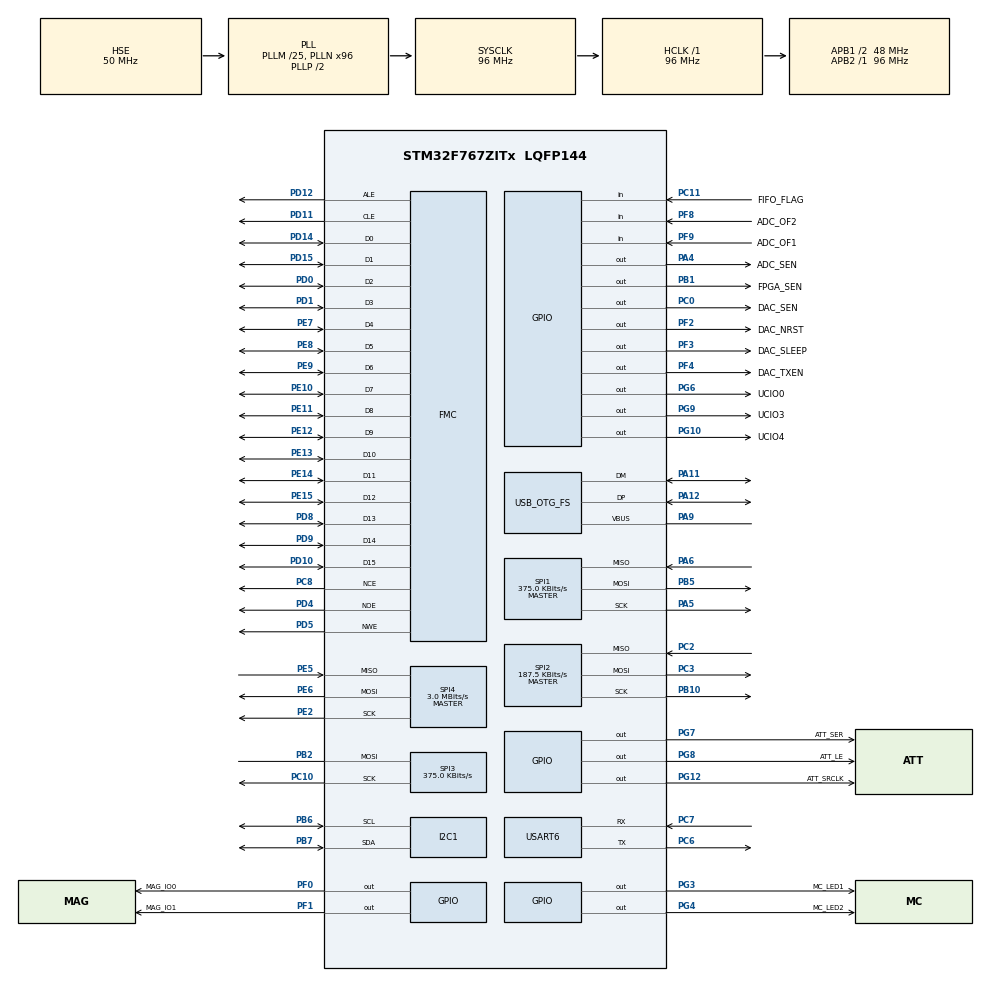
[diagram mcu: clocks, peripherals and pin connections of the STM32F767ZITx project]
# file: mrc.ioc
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ARM.CMSIS.5.4.0.CMSISJjCORE=true
ARM.CMSIS.5.4.0.CMSISJjDSP=true
Dma.MEMTOMEM.0.Direction=DMA_MEMORY_TO_MEMORY
Dma.MEMTOMEM.0.FIFOMode=DMA_FIFOMODE_ENABLE
Dma.MEMTOMEM.0.FIFOThreshold=DMA_FIFO_THRESHOLD_FULL
Dma.MEMTOMEM.0.Instance=DMA2_Stream0
Dma.MEMTOMEM.0.MemBurst=DMA_MBURST_SINGLE
Dma.MEMTOMEM.0.MemDataAlignment=DMA_MDATAALIGN_HALFWORD
Dma.MEMTOMEM.0.MemInc=DMA_MINC_ENABLE
Dma.MEMTOMEM.0.Mode=DMA_NORMAL
Dma.MEMTOMEM.0.PeriphBurst=DMA_PBURST_SINGLE
Dma.MEMTOMEM.0.PeriphDataAlignment=DMA_PDATAALIGN_HALFWORD
Dma.MEMTOMEM.0.PeriphInc=DMA_PINC_DISABLE
Dma.MEMTOMEM.0.Priority=DMA_PRIORITY_LOW
Dma.Request0=MEMTOMEM
FMC.AttributeSpaceHiZSetupTime1=5
FMC.AttributeSpaceHoldSetupTime1=6
FMC.AttributeSpaceSetupTime1=5
FMC.AttributeSpaceWaitSetupTime1=5
FMC.CommonSpaceHiZSetupTime1=5
FMC.CommonSpaceHoldSetupTime1=6
FMC.CommonSpaceSetupTime1=5
FMC.CommonSpaceWaitSetupTime1=5
I2C1.Timing=0x20303E5D
Mcu.Family=STM32F7
Mcu.Name=STM32F767ZITx
Mcu.Package=LQFP144
NVIC.DMA2_Stream0_IRQn=true\:0\:0\:false\:false\:true\:true\:true\:true
NVIC.OTG_FS_IRQn=true\:0\:0\:false\:false\:true\:false\:true\:true
NVIC.PriorityGroup=NVIC_PRIORITYGROUP_4
PA11.Mode=Device_Only
PA11.Signal=USB_OTG_FS_DM
PA12.Mode=Device_Only
PA12.Signal=USB_OTG_FS_DP
PA4.GPIO_Label=ADC_SEN
PA4.Signal=GPIO_Output
PA5.Mode=Full_Duplex_Master
PA5.Signal=SPI1_SCK
PA6.Mode=Full_Duplex_Master
PA6.Signal=SPI1_MISO
PA9.Mode=Activate_VBUS
PA9.Signal=USB_OTG_FS_VBUS
PB1.GPIO_Label=FPGA_SEN
PB1.Signal=GPIO_Output
PB10.Mode=Full_Duplex_Master
PB10.Signal=SPI2_SCK
PB2.Mode=Simplex_Bidirectional_Master
PB2.Signal=SPI3_MOSI
PB5.Mode=Full_Duplex_Master
PB5.Signal=SPI1_MOSI
PB6.Mode=I2C
PB6.Signal=I2C1_SCL
PB7.Mode=I2C
PB7.Signal=I2C1_SDA
PC0.GPIO_Label=DAC_SEN
PC0.Signal=GPIO_Output
PC10.Mode=Simplex_Bidirectional_Master
PC10.Signal=SPI3_SCK
PC11.GPIO_Label=FIFO_FLAG
PC11.Signal=GPIO_Input
PC2.Mode=Full_Duplex_Master
PC2.Signal=SPI2_MISO
PC3.Mode=Full_Duplex_Master
PC3.Signal=SPI2_MOSI
PC6.Mode=Asynchronous
PC6.Signal=USART6_TX
PC7.Mode=Asynchronous
PC7.Signal=USART6_RX
PC8.Mode=NandChipSelect3_1
PC8.Signal=FMC_NCE
PD0.Signal=FMC_D2_DA2
PD1.Signal=FMC_D3_DA3
PD10.Signal=FMC_D15_DA15
PD11.Signal=FMC_A16_CLE
PD12.Signal=FMC_A17_ALE
PD14.Signal=FMC_D0_DA0
PD15.Signal=FMC_D1_DA1
PD4.Signal=FMC_NOE
PD5.Signal=FMC_NWE
PD8.Signal=FMC_D13_DA13
PD9.Signal=FMC_D14_DA14
PE10.Signal=FMC_D7_DA7
PE11.Signal=FMC_D8_DA8
PE12.Signal=FMC_D9_DA9
PE13.Signal=FMC_D10_DA10
PE14.Signal=FMC_D11_DA11
PE15.Signal=FMC_D12_DA12
PE2.Mode=Full_Duplex_Master
PE2.Signal=SPI4_SCK
PE5.Mode=Full_Duplex_Master
PE5.Signal=SPI4_MISO
PE6.Mode=Full_Duplex_Master
PE6.Signal=SPI4_MOSI
PE7.Signal=FMC_D4_DA4
PE8.Signal=FMC_D5_DA5
PE9.Signal=FMC_D6_DA6
PF0.GPIO_Label=MAG_IO0
PF0.Signal=GPIO_Output
PF1.GPIO_Label=MAG_IO1
PF1.Signal=GPIO_Output
PF2.GPIO_Label=DAC_NRST
PF2.Signal=GPIO_Output
PF3.GPIO_Label=DAC_SLEEP
PF3.Signal=GPIO_Output
PF4.GPIO_Label=DAC_TXEN
PF4.Signal=GPIO_Output
PF8.GPIO_Label=ADC_OF2
PF8.Signal=GPIO_Input
PF9.GPIO_Label=ADC_OF1
PF9.Signal=GPIO_Input
PG10.GPIO_Label=UCIO4
PG10.Signal=GPIO_Output
PG11.Signal=ETH_TX_EN
PG12.GPIO_Label=ATT_SRCLK
PG12.Signal=GPIO_Output
PG13.Signal=ETH_TXD0
PG3.GPIO_Label=MC_LED1
PG3.Signal=GPIO_Output
PG4.GPIO_Label=MC_LED2
PG4.Signal=GPIO_Output
PG6.GPIO_Label=UCIO0
PG6.Signal=GPIO_Output
PG7.GPIO_Label=ATT_SER
PG7.Signal=GPIO_Output
PG8.GPIO_Label=ATT_LE
PG8.Signal=GPIO_Output
PG9.GPIO_Label=UCIO3
PG9.Signal=GPIO_Output
PH0/OSC_IN.Mode=HSE-External-Clock-Source
PH0/OSC_IN.Signal=RCC_OSC_IN
PH1/OSC_OUT.Mode=HSE-External-Clock-Source
PH1/OSC_OUT.Signal=RCC_OSC_OUT
ProjectManager.HeapSize=0x400
ProjectManager.StackSize=0x800
ProjectManager.TargetToolchain=STM32CubeIDE
RCC.AHBFreq_Value=96000000
RCC.APB1CLKDivider=RCC_HCLK_DIV2
RCC.APB1Freq_Value=48000000
RCC.APB1TimFreq_Value=96000000
RCC.APB2Freq_Value=96000000
RCC.APB2TimFreq_Value=96000000
RCC.CortexFreq_Value=96000000
RCC.HCLKFreq_Value=96000000
RCC.HSE_VALUE=50000000
RCC.HSI_VALUE=16000000
RCC.LSE_VALUE=32768
RCC.PLLM=25
RCC.PLLN=96
RCC.PLLQ=4
RCC.SYSCLKFreq_VALUE=96000000
RCC.SYSCLKSource=RCC_SYSCLKSOURCE_PLLCLK
RCC.USBFreq_Value=48000000
RCC.VCOOutputFreq_Value=192000000
SH.FMC_A16_CLE.0=FMC_CLE,16b-dmux1
SH.FMC_A17_ALE.0=FMC_ALE,16b-dmux1
SH.FMC_D0_DA0.0=FMC_D0,16b-dmux1
SH.FMC_D10_DA10.0=FMC_D10,16b-dmux1
SH.FMC_D11_DA11.0=FMC_D11,16b-dmux1
SH.FMC_D12_DA12.0=FMC_D12,16b-dmux1
SH.FMC_D13_DA13.0=FMC_D13,16b-dmux1
SH.FMC_D14_DA14.0=FMC_D14,16b-dmux1
SH.FMC_D15_DA15.0=FMC_D15,16b-dmux1
SH.FMC_D1_DA1.0=FMC_D1,16b-dmux1
SH.FMC_D2_DA2.0=FMC_D2,16b-dmux1
SH.FMC_D3_DA3.0=FMC_D3,16b-dmux1
SH.FMC_D4_DA4.0=FMC_D4,16b-dmux1
SH.FMC_D5_DA5.0=FMC_D5,16b-dmux1
SH.FMC_D6_DA6.0=FMC_D6,16b-dmux1
SH.FMC_D7_DA7.0=FMC_D7,16b-dmux1
SH.FMC_D8_DA8.0=FMC_D8,16b-dmux1
SH.FMC_D9_DA9.0=FMC_D9,16b-dmux1
SH.FMC_NOE.0=FMC_NOE,16b-dmux1
SH.FMC_NWE.0=FMC_NWE,16b-dmux1
SPI1.BaudRatePrescaler=SPI_BAUDRATEPRESCALER_256
SPI1.CalculateBaudRate=375.0 KBits/s
SPI1.DataSize=SPI_DATASIZE_8BIT
SPI1.Direction=SPI_DIRECTION_2LINES
SPI1.Mode=SPI_MODE_MASTER
SPI1.VirtualType=VM_MASTER
SPI2.BaudRatePrescaler=SPI_BAUDRATEPRESCALER_256
SPI2.CalculateBaudRate=187.5 KBits/s
SPI2.DataSize=SPI_DATASIZE_8BIT
SPI2.Direction=SPI_DIRECTION_2LINES
SPI2.Mode=SPI_MODE_MASTER
SPI2.VirtualType=VM_MASTER
SPI3.BaudRatePrescaler=SPI_BAUDRATEPRESCALER_128
SPI3.CalculateBaudRate=375.0 KBits/s
SPI3.DataSize=SPI_DATASIZE_16BIT
SPI3.Direction=SPI_DIRECTION_1LINE
SPI3.Mode=SPI_MODE_MASTER
SPI3.VirtualType=VM_MASTER
SPI4.BaudRatePrescaler=SPI_BAUDRATEPRESCALER_32
SPI4.CalculateBaudRate=3.0 MBits/s
SPI4.DataSize=SPI_DATASIZE_8BIT
SPI4.Direction=SPI_DIRECTION_2LINES
SPI4.Mode=SPI_MODE_MASTER
SPI4.VirtualType=VM_MASTER
USART6.VirtualMode-Asynchronous=VM_ASYNC
USB_DEVICE.CLASS_NAME_FS=CDC
USB_DEVICE.VirtualMode-CDC_FS=Cdc
USB_DEVICE.VirtualModeFS=Cdc_FS
USB_OTG_FS.VirtualMode=Device_Only
VP_ARM.CMSIS_VS_CMSISJjCORE_5.1.2_5.4.0.Mode=CMSISJjCORE
VP_ARM.CMSIS_VS_CMSISJjDSP_1.5.2_5.4.0.Mode=CMSISJjDSP
VP_USB_DEVICE_VS_USB_DEVICE_CDC_FS.Mode=CDC_FS
board=custom

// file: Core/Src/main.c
/* USER CODE BEGIN Header */
/**
  ******************************************************************************
  * @file           : main.c
  * @brief          : Main program body
  ******************************************************************************
  * @attention
  *
  * Copyright (c) 2024 STMicroelectronics.
  * All rights reserved.
  *
  * This software is licensed under terms that can be found in the LICENSE file
  * in the root directory of this software component.
  * If no LICENSE file comes with this software, it is provided AS-IS.
  *
  ******************************************************************************
  */
/* USER CODE END Header */
#include "main.h"
#include "usb_device.h"

/* USER CODE BEGIN Includes */

#include "mrc.h"
#include "dac5687.h"
#include "ltc2145.h"
#include <stdint.h>
#include <stdarg.h>
#include <stdio.h>
#include "usbd_cdc_if.h"

#include "seq/seq_pulseecho.h" //Sequence definition for pulseecho experiment
//#include "arm_math.h"

/* USER CODE END Includes */

I2C_HandleTypeDef hi2c1;

SPI_HandleTypeDef hspi1;
SPI_HandleTypeDef hspi2;
SPI_HandleTypeDef hspi3;
SPI_HandleTypeDef hspi4;

UART_HandleTypeDef huart6;

DMA_HandleTypeDef hdma_memtomem_dma2_stream0;
NAND_HandleTypeDef hnand1;

/* USER CODE BEGIN PV */

char cdc_rx_buf[64];
uint16_t sequence_buffer[512];
uint16_t codelength;
uint8_t well;
uint8_t att;
uint16_t seq_num_samples;
uint8_t * cdc_rx_dst;

uint16_t sequence_amps[4]; //Relative amplitudes from sequence
uint16_t amp_scale = 0;

const char CMD_TRIG[64] = "trigger";
const char CMD_LOAD[64] = "load";
const char CMD_CAL_FREQ[64] = "calfreq";
const char CMD_SET_AMP[64] = "amp";
const char CMD_SET_ATT[64] = "att";
const char CMD_SET_WELL[64] = "well";
const char CMD_SET_FREQ[64] = "freq";
const char CMD_RST[64] = "reset";
volatile unsigned char usb_rx_flag;

/* USER CODE END PV */

void SystemClock_Config(void);
static void MX_GPIO_Init(void);
static void MX_DMA_Init(void);
static void MX_SPI2_Init(void);
static void MX_SPI3_Init(void);
static void MX_USART6_UART_Init(void);
static void MX_I2C1_Init(void);
static void MX_SPI4_Init(void);
static void MX_FMC_Init(void);
static void MX_SPI1_Init(void);

int main(void)
{

  /* MCU Configuration--------------------------------------------------------*/

  /* Reset of all peripherals, Initializes the Flash interface and the Systick. */
  HAL_Init();

  /* Configure the system clock */
  SystemClock_Config();

  /* Initialize all configured peripherals */
  MX_GPIO_Init();
  MX_DMA_Init();
  MX_SPI2_Init();
  MX_SPI3_Init();
  MX_USART6_UART_Init();
  MX_I2C1_Init();
  MX_SPI4_Init();
  MX_FMC_Init();
  MX_SPI1_Init();
  MX_USB_DEVICE_Init();
  /* USER CODE BEGIN 2 */
  DAC5687_Init();

  LTC2145_Init();
  cdc_rx_dst = (uint8_t *) cdc_rx_buf;

  HAL_GPIO_WritePin(DAC_TXEN_GPIO_Port, DAC_TXEN_Pin, GPIO_PIN_SET);
//  DAC5687_Pattern_Test();
  HAL_Delay(3000); //wait for FPGA to initialize
  Configure_MRC();

  float frequency = 8091000.0;
  MRC_Set_Freq(frequency);
  Load_Sequence(seq_pulseecho, seq_pulseecho_len);
  /* USER CODE END 2 */

  /* Infinite loop */
  while (1)
  {

    /* USER CODE BEGIN 3 */

	  if(usb_rx_flag){
		  usb_rx_flag = 0;
		  if(strncmp(cdc_rx_buf,CMD_TRIG, 6) == 0){
			  DEBUG_PRINT("Trigger\n\r");
			  Reset_FPGA();
			  MRC_Set_Freq(frequency);
			  Trigger_Sequence();
			  Transfer_Samples(seq_num_samples * 16);
		  }
		  else if(strncmp(cdc_rx_buf,CMD_LOAD, 4) == 0){
			  codelength = ((uint16_t) cdc_rx_buf[4] << 8) + cdc_rx_buf[5];
//			  HAL_Delay(10);
//			  DEBUG_PRINT("Loading Sequence, length %d\n\r", codelength);
			  for(int i = 0; i < codelength/64; i++){
				  cdc_rx_dst = (uint8_t *) sequence_buffer  + i*64;
				  while(usb_rx_flag == 0){} //wait for next packet
				  usb_rx_flag = 0;
			  }
			  if(codelength - (codelength/64)*64 > 0){
				  cdc_rx_dst = (uint8_t *) sequence_buffer + (codelength/64)*64;
				  while(usb_rx_flag == 0){} //wait for next packet
				  usb_rx_flag = 0;
			  }
			  cdc_rx_dst = (uint8_t *) cdc_rx_buf;
//			  DEBUG_PRINT("Done\n\r");
			  seq_num_samples = sequence_buffer[0];
			  sequence_amps[0] = sequence_buffer[5];
			  sequence_amps[1] = sequence_buffer[6];
			  sequence_amps[2] = sequence_buffer[7];
			  sequence_amps[3] = sequence_buffer[8];

			  //Scale the sequence amps
			  sequence_buffer[5] = (sequence_amps[0] * amp_scale)/100;
			  sequence_buffer[6] = (sequence_amps[1] * amp_scale)/100;
			  sequence_buffer[7] = (sequence_amps[2] * amp_scale)/100;
			  sequence_buffer[8] = (sequence_amps[3] * amp_scale)/100;

			  Reset_FPGA();
			  Load_Sequence(sequence_buffer, codelength/2);
			  DEBUG_PRINT("codelength: %d\n\r", codelength/2);
//			  Load_Sequence(seq_pulseecho, seq_pulseecho_len);
			  MRC_Set_Freq(frequency);

			  Transfer_Status("Done");
		  }
		  else if(strncmp(cdc_rx_buf,CMD_SET_AMP, 3) == 0){
			  amp_scale = atoi(cdc_rx_buf + 4);

			  sequence_buffer[5] = (sequence_amps[0] * amp_scale)/100;
			  sequence_buffer[6] = (sequence_amps[1]* amp_scale)/100;
			  sequence_buffer[7] = (sequence_amps[2] * amp_scale)/100;
			  sequence_buffer[8] = (sequence_amps[3] * amp_scale)/100;
			  Reset_FPGA();
			  Load_Sequence(sequence_buffer, codelength/2);
			  MRC_Set_Freq(frequency);
			  Transfer_Status("Done");
		  }
		  else if(strncmp(cdc_rx_buf,CMD_SET_ATT, 3) == 0){
			  att = atoi(cdc_rx_buf + 4);

			  Set_Attenuator(att);
			  Transfer_Status("Done");
		  }
		  else if(strncmp(cdc_rx_buf,CMD_SET_WELL, 4) == 0){
			  well = atoi(cdc_rx_buf + 5);

			  Set_Well(well);
			  Transfer_Status("Done");
		  }
		  else if(strncmp(cdc_rx_buf,CMD_SET_FREQ, 4) == 0){
			  frequency = (float) atoi(cdc_rx_buf + 5);
			  MRC_Set_Freq(frequency);
			  Transfer_Status("Done");
		  }
		  else if(strncmp(cdc_rx_buf,CMD_RST, 5) == 0){
			  Reset_FPGA();
		  }
		  memset (cdc_rx_buf, '\0', 64);
	  }

  }
  /* USER CODE END 3 */
}

void SystemClock_Config(void)
{
  RCC_OscInitTypeDef RCC_OscInitStruct = {0};
  RCC_ClkInitTypeDef RCC_ClkInitStruct = {0};

  /** Configure the main internal regulator output voltage
  */
  __HAL_RCC_PWR_CLK_ENABLE();
  __HAL_PWR_VOLTAGESCALING_CONFIG(PWR_REGULATOR_VOLTAGE_SCALE3);

  /** Initializes the RCC Oscillators according to the specified parameters
  * in the RCC_OscInitTypeDef structure.
  */
  RCC_OscInitStruct.OscillatorType = RCC_OSCILLATORTYPE_HSE;
  RCC_OscInitStruct.HSEState = RCC_HSE_BYPASS;
  RCC_OscInitStruct.PLL.PLLState = RCC_PLL_ON;
  RCC_OscInitStruct.PLL.PLLSource = RCC_PLLSOURCE_HSE;
  RCC_OscInitStruct.PLL.PLLM = 25;
  RCC_OscInitStruct.PLL.PLLN = 96;
  RCC_OscInitStruct.PLL.PLLP = RCC_PLLP_DIV2;
  RCC_OscInitStruct.PLL.PLLQ = 4;
  RCC_OscInitStruct.PLL.PLLR = 2;
  if (HAL_RCC_OscConfig(&RCC_OscInitStruct) != HAL_OK)
  {
    Error_Handler();
  }

  /** Activate the Over-Drive mode
  */
  if (HAL_PWREx_EnableOverDrive() != HAL_OK)
  {
    Error_Handler();
  }

  /** Initializes the CPU, AHB and APB buses clocks
  */
  RCC_ClkInitStruct.ClockType = RCC_CLOCKTYPE_HCLK|RCC_CLOCKTYPE_SYSCLK
                              |RCC_CLOCKTYPE_PCLK1|RCC_CLOCKTYPE_PCLK2;
  RCC_ClkInitStruct.SYSCLKSource = RCC_SYSCLKSOURCE_PLLCLK;
  RCC_ClkInitStruct.AHBCLKDivider = RCC_SYSCLK_DIV1;
  RCC_ClkInitStruct.APB1CLKDivider = RCC_HCLK_DIV2;
  RCC_ClkInitStruct.APB2CLKDivider = RCC_HCLK_DIV1;

  if (HAL_RCC_ClockConfig(&RCC_ClkInitStruct, FLASH_LATENCY_3) != HAL_OK)
  {
    Error_Handler();
  }
}

static void MX_I2C1_Init(void)
{

  hi2c1.Instance = I2C1;
  hi2c1.Init.Timing = 0x20303E5D;
  hi2c1.Init.OwnAddress1 = 0;
  hi2c1.Init.AddressingMode = I2C_ADDRESSINGMODE_7BIT;
  hi2c1.Init.DualAddressMode = I2C_DUALADDRESS_DISABLE;
  hi2c1.Init.OwnAddress2 = 0;
  hi2c1.Init.OwnAddress2Masks = I2C_OA2_NOMASK;
  hi2c1.Init.GeneralCallMode = I2C_GENERALCALL_DISABLE;
  hi2c1.Init.NoStretchMode = I2C_NOSTRETCH_DISABLE;
  if (HAL_I2C_Init(&hi2c1) != HAL_OK)
  {
    Error_Handler();
  }

  /** Configure Analogue filter
  */
  if (HAL_I2CEx_ConfigAnalogFilter(&hi2c1, I2C_ANALOGFILTER_ENABLE) != HAL_OK)
  {
    Error_Handler();
  }

  /** Configure Digital filter
  */
  if (HAL_I2CEx_ConfigDigitalFilter(&hi2c1, 0) != HAL_OK)
  {
    Error_Handler();
  }

}

static void MX_SPI1_Init(void)
{

  /* SPI1 parameter configuration*/
  hspi1.Instance = SPI1;
  hspi1.Init.Mode = SPI_MODE_MASTER;
  hspi1.Init.Direction = SPI_DIRECTION_2LINES;
  hspi1.Init.DataSize = SPI_DATASIZE_8BIT;
  hspi1.Init.CLKPolarity = SPI_POLARITY_LOW;
  hspi1.Init.CLKPhase = SPI_PHASE_1EDGE;
  hspi1.Init.NSS = SPI_NSS_SOFT;
  hspi1.Init.BaudRatePrescaler = SPI_BAUDRATEPRESCALER_256;
  hspi1.Init.FirstBit = SPI_FIRSTBIT_MSB;
  hspi1.Init.TIMode = SPI_TIMODE_DISABLE;
  hspi1.Init.CRCCalculation = SPI_CRCCALCULATION_DISABLE;
  hspi1.Init.CRCPolynomial = 7;
  hspi1.Init.CRCLength = SPI_CRC_LENGTH_DATASIZE;
  hspi1.Init.NSSPMode = SPI_NSS_PULSE_ENABLE;
  if (HAL_SPI_Init(&hspi1) != HAL_OK)
  {
    Error_Handler();
  }

}

static void MX_SPI2_Init(void)
{

  /* SPI2 parameter configuration*/
  hspi2.Instance = SPI2;
  hspi2.Init.Mode = SPI_MODE_MASTER;
  hspi2.Init.Direction = SPI_DIRECTION_2LINES;
  hspi2.Init.DataSize = SPI_DATASIZE_8BIT;
  hspi2.Init.CLKPolarity = SPI_POLARITY_LOW;
  hspi2.Init.CLKPhase = SPI_PHASE_1EDGE;
  hspi2.Init.NSS = SPI_NSS_SOFT;
  hspi2.Init.BaudRatePrescaler = SPI_BAUDRATEPRESCALER_256;
  hspi2.Init.FirstBit = SPI_FIRSTBIT_MSB;
  hspi2.Init.TIMode = SPI_TIMODE_DISABLE;
  hspi2.Init.CRCCalculation = SPI_CRCCALCULATION_DISABLE;
  hspi2.Init.CRCPolynomial = 7;
  hspi2.Init.CRCLength = SPI_CRC_LENGTH_DATASIZE;
  hspi2.Init.NSSPMode = SPI_NSS_PULSE_ENABLE;
  if (HAL_SPI_Init(&hspi2) != HAL_OK)
  {
    Error_Handler();
  }

}

static void MX_SPI3_Init(void)
{

  /* SPI3 parameter configuration*/
  hspi3.Instance = SPI3;
  hspi3.Init.Mode = SPI_MODE_MASTER;
  hspi3.Init.Direction = SPI_DIRECTION_1LINE;
  hspi3.Init.DataSize = SPI_DATASIZE_16BIT;
  hspi3.Init.CLKPolarity = SPI_POLARITY_LOW;
  hspi3.Init.CLKPhase = SPI_PHASE_1EDGE;
  hspi3.Init.NSS = SPI_NSS_SOFT;
  hspi3.Init.BaudRatePrescaler = SPI_BAUDRATEPRESCALER_128;
  hspi3.Init.FirstBit = SPI_FIRSTBIT_MSB;
  hspi3.Init.TIMode = SPI_TIMODE_DISABLE;
  hspi3.Init.CRCCalculation = SPI_CRCCALCULATION_DISABLE;
  hspi3.Init.CRCPolynomial = 7;
  hspi3.Init.CRCLength = SPI_CRC_LENGTH_DATASIZE;
  hspi3.Init.NSSPMode = SPI_NSS_PULSE_ENABLE;
  if (HAL_SPI_Init(&hspi3) != HAL_OK)
  {
    Error_Handler();
  }

}

static void MX_SPI4_Init(void)
{

  /* SPI4 parameter configuration*/
  hspi4.Instance = SPI4;
  hspi4.Init.Mode = SPI_MODE_MASTER;
  hspi4.Init.Direction = SPI_DIRECTION_2LINES;
  hspi4.Init.DataSize = SPI_DATASIZE_8BIT;
  hspi4.Init.CLKPolarity = SPI_POLARITY_LOW;
  hspi4.Init.CLKPhase = SPI_PHASE_1EDGE;
  hspi4.Init.NSS = SPI_NSS_SOFT;
  hspi4.Init.BaudRatePrescaler = SPI_BAUDRATEPRESCALER_32;
  hspi4.Init.FirstBit = SPI_FIRSTBIT_MSB;
  hspi4.Init.TIMode = SPI_TIMODE_DISABLE;
  hspi4.Init.CRCCalculation = SPI_CRCCALCULATION_DISABLE;
  hspi4.Init.CRCPolynomial = 7;
  hspi4.Init.CRCLength = SPI_CRC_LENGTH_DATASIZE;
  hspi4.Init.NSSPMode = SPI_NSS_PULSE_ENABLE;
  if (HAL_SPI_Init(&hspi4) != HAL_OK)
  {
    Error_Handler();
  }

}

static void MX_USART6_UART_Init(void)
{

  huart6.Instance = USART6;
  huart6.Init.BaudRate = 115200;
  huart6.Init.WordLength = UART_WORDLENGTH_8B;
  huart6.Init.StopBits = UART_STOPBITS_1;
  huart6.Init.Parity = UART_PARITY_NONE;
  huart6.Init.Mode = UART_MODE_TX_RX;
  huart6.Init.HwFlowCtl = UART_HWCONTROL_NONE;
  huart6.Init.OverSampling = UART_OVERSAMPLING_16;
  huart6.Init.OneBitSampling = UART_ONE_BIT_SAMPLE_DISABLE;
  huart6.AdvancedInit.AdvFeatureInit = UART_ADVFEATURE_NO_INIT;
  if (HAL_UART_Init(&huart6) != HAL_OK)
  {
    Error_Handler();
  }

}

static void MX_DMA_Init(void)
{

  /* DMA controller clock enable */
  __HAL_RCC_DMA2_CLK_ENABLE();

  /* Configure DMA request hdma_memtomem_dma2_stream0 on DMA2_Stream0 */
  hdma_memtomem_dma2_stream0.Instance = DMA2_Stream0;
  hdma_memtomem_dma2_stream0.Init.Channel = DMA_CHANNEL_0;
  hdma_memtomem_dma2_stream0.Init.Direction = DMA_MEMORY_TO_MEMORY;
  hdma_memtomem_dma2_stream0.Init.PeriphInc = DMA_PINC_DISABLE;
  hdma_memtomem_dma2_stream0.Init.MemInc = DMA_MINC_ENABLE;
  hdma_memtomem_dma2_stream0.Init.PeriphDataAlignment = DMA_PDATAALIGN_HALFWORD;
  hdma_memtomem_dma2_stream0.Init.MemDataAlignment = DMA_MDATAALIGN_HALFWORD;
  hdma_memtomem_dma2_stream0.Init.Mode = DMA_NORMAL;
  hdma_memtomem_dma2_stream0.Init.Priority = DMA_PRIORITY_LOW;
  hdma_memtomem_dma2_stream0.Init.FIFOMode = DMA_FIFOMODE_ENABLE;
  hdma_memtomem_dma2_stream0.Init.FIFOThreshold = DMA_FIFO_THRESHOLD_FULL;
  hdma_memtomem_dma2_stream0.Init.MemBurst = DMA_MBURST_SINGLE;
  hdma_memtomem_dma2_stream0.Init.PeriphBurst = DMA_PBURST_SINGLE;
  if (HAL_DMA_Init(&hdma_memtomem_dma2_stream0) != HAL_OK)
  {
    Error_Handler( );
  }

  /* DMA interrupt init */
  /* DMA2_Stream0_IRQn interrupt configuration */
  HAL_NVIC_SetPriority(DMA2_Stream0_IRQn, 0, 0);
  HAL_NVIC_EnableIRQ(DMA2_Stream0_IRQn);

}

/* FMC initialization function */
static void MX_FMC_Init(void)
{

  FMC_NAND_PCC_TimingTypeDef ComSpaceTiming = {0};
  FMC_NAND_PCC_TimingTypeDef AttSpaceTiming = {0};

  /** Perform the NAND1 memory initialization sequence
  */
  hnand1.Instance = FMC_NAND_DEVICE;
  /* hnand1.Init */
  hnand1.Init.NandBank = FMC_NAND_BANK3;
  hnand1.Init.Waitfeature = FMC_NAND_WAIT_FEATURE_DISABLE;
  hnand1.Init.MemoryDataWidth = FMC_NAND_MEM_BUS_WIDTH_16;
  hnand1.Init.EccComputation = FMC_NAND_ECC_DISABLE;
  hnand1.Init.ECCPageSize = FMC_NAND_ECC_PAGE_SIZE_256BYTE;
  hnand1.Init.TCLRSetupTime = 0;
  hnand1.Init.TARSetupTime = 0;
  /* hnand1.Config */
  hnand1.Config.PageSize = 0;
  hnand1.Config.SpareAreaSize = 0;
  hnand1.Config.BlockSize = 0;
  hnand1.Config.BlockNbr = 0;
  hnand1.Config.PlaneNbr = 0;
  hnand1.Config.PlaneSize = 0;
  hnand1.Config.ExtraCommandEnable = DISABLE;
  /* ComSpaceTiming */
  ComSpaceTiming.SetupTime = 5;
  ComSpaceTiming.WaitSetupTime = 5;
  ComSpaceTiming.HoldSetupTime = 6;
  ComSpaceTiming.HiZSetupTime = 5;
  /* AttSpaceTiming */
  AttSpaceTiming.SetupTime = 5;
  AttSpaceTiming.WaitSetupTime = 5;
  AttSpaceTiming.HoldSetupTime = 6;
  AttSpaceTiming.HiZSetupTime = 5;

  if (HAL_NAND_Init(&hnand1, &ComSpaceTiming, &AttSpaceTiming) != HAL_OK)
  {
    Error_Handler( );
  }

}

static void MX_GPIO_Init(void)
{
  GPIO_InitTypeDef GPIO_InitStruct = {0};

  /* GPIO Ports Clock Enable */
  __HAL_RCC_GPIOE_CLK_ENABLE();
  __HAL_RCC_GPIOF_CLK_ENABLE();
  __HAL_RCC_GPIOH_CLK_ENABLE();
  __HAL_RCC_GPIOC_CLK_ENABLE();
  __HAL_RCC_GPIOA_CLK_ENABLE();
  __HAL_RCC_GPIOB_CLK_ENABLE();
  __HAL_RCC_GPIOD_CLK_ENABLE();
  __HAL_RCC_GPIOG_CLK_ENABLE();

  /*Configure GPIO pin Output Level */
  HAL_GPIO_WritePin(GPIOF, MAG_IO0_Pin|MAG_IO1_Pin|DAC_NRST_Pin|DAC_SLEEP_Pin
                          |DAC_TXEN_Pin, GPIO_PIN_RESET);

  /*Configure GPIO pin Output Level */
  HAL_GPIO_WritePin(DAC_SEN_GPIO_Port, DAC_SEN_Pin, GPIO_PIN_RESET);

  /*Configure GPIO pin Output Level */
  HAL_GPIO_WritePin(ADC_SEN_GPIO_Port, ADC_SEN_Pin, GPIO_PIN_RESET);

  /*Configure GPIO pin Output Level */
  HAL_GPIO_WritePin(FPGA_SEN_GPIO_Port, FPGA_SEN_Pin, GPIO_PIN_RESET);

  /*Configure GPIO pin Output Level */
  HAL_GPIO_WritePin(GPIOG, MC_LED1_Pin|MC_LED2_Pin|UCIO0_Pin|ATT_SER_Pin
                          |ATT_LE_Pin|UCIO3_Pin|UCIO4_Pin|ATT_SRCLK_Pin, GPIO_PIN_RESET);

  /*Configure GPIO pins : MAG_IO0_Pin MAG_IO1_Pin DAC_NRST_Pin DAC_SLEEP_Pin
                           DAC_TXEN_Pin */
  GPIO_InitStruct.Pin = MAG_IO0_Pin|MAG_IO1_Pin|DAC_NRST_Pin|DAC_SLEEP_Pin
                          |DAC_TXEN_Pin;
  GPIO_InitStruct.Mode = GPIO_MODE_OUTPUT_PP;
  GPIO_InitStruct.Pull = GPIO_NOPULL;
  GPIO_InitStruct.Speed = GPIO_SPEED_FREQ_LOW;
  HAL_GPIO_Init(GPIOF, &GPIO_InitStruct);

  /*Configure GPIO pins : ADC_OF2_Pin ADC_OF1_Pin */
  GPIO_InitStruct.Pin = ADC_OF2_Pin|ADC_OF1_Pin;
  GPIO_InitStruct.Mode = GPIO_MODE_INPUT;
  GPIO_InitStruct.Pull = GPIO_NOPULL;
  HAL_GPIO_Init(GPIOF, &GPIO_InitStruct);

  /*Configure GPIO pin : DAC_SEN_Pin */
  GPIO_InitStruct.Pin = DAC_SEN_Pin;
  GPIO_InitStruct.Mode = GPIO_MODE_OUTPUT_PP;
  GPIO_InitStruct.Pull = GPIO_NOPULL;
  GPIO_InitStruct.Speed = GPIO_SPEED_FREQ_LOW;
  HAL_GPIO_Init(DAC_SEN_GPIO_Port, &GPIO_InitStruct);

  /*Configure GPIO pin : ADC_SEN_Pin */
  GPIO_InitStruct.Pin = ADC_SEN_Pin;
  GPIO_InitStruct.Mode = GPIO_MODE_OUTPUT_PP;
  GPIO_InitStruct.Pull = GPIO_NOPULL;
  GPIO_InitStruct.Speed = GPIO_SPEED_FREQ_LOW;
  HAL_GPIO_Init(ADC_SEN_GPIO_Port, &GPIO_InitStruct);

  /*Configure GPIO pin : FPGA_SEN_Pin */
  GPIO_InitStruct.Pin = FPGA_SEN_Pin;
  GPIO_InitStruct.Mode = GPIO_MODE_OUTPUT_PP;
  GPIO_InitStruct.Pull = GPIO_NOPULL;
  GPIO_InitStruct.Speed = GPIO_SPEED_FREQ_LOW;
  HAL_GPIO_Init(FPGA_SEN_GPIO_Port, &GPIO_InitStruct);

  /*Configure GPIO pins : MC_LED1_Pin MC_LED2_Pin UCIO0_Pin ATT_SER_Pin
                           ATT_LE_Pin UCIO3_Pin UCIO4_Pin ATT_SRCLK_Pin */
  GPIO_InitStruct.Pin = MC_LED1_Pin|MC_LED2_Pin|UCIO0_Pin|ATT_SER_Pin
                          |ATT_LE_Pin|UCIO3_Pin|UCIO4_Pin|ATT_SRCLK_Pin;
  GPIO_InitStruct.Mode = GPIO_MODE_OUTPUT_PP;
  GPIO_InitStruct.Pull = GPIO_NOPULL;
  GPIO_InitStruct.Speed = GPIO_SPEED_FREQ_LOW;
  HAL_GPIO_Init(GPIOG, &GPIO_InitStruct);

  /*Configure GPIO pin : FIFO_FLAG_Pin */
  GPIO_InitStruct.Pin = FIFO_FLAG_Pin;
  GPIO_InitStruct.Mode = GPIO_MODE_INPUT;
  GPIO_InitStruct.Pull = GPIO_NOPULL;
  HAL_GPIO_Init(FIFO_FLAG_GPIO_Port, &GPIO_InitStruct);

  /*Configure GPIO pins : PG11 PG13 */
  GPIO_InitStruct.Pin = GPIO_PIN_11|GPIO_PIN_13;
  GPIO_InitStruct.Mode = GPIO_MODE_AF_PP;
  GPIO_InitStruct.Pull = GPIO_NOPULL;
  GPIO_InitStruct.Speed = GPIO_SPEED_FREQ_VERY_HIGH;
  GPIO_InitStruct.Alternate = GPIO_AF11_ETH;
  HAL_GPIO_Init(GPIOG, &GPIO_InitStruct);

}

/* USER CODE BEGIN 4 */
void DEBUG_PRINT(char * format, ...){
	char buffer[256];
	va_list args;
	va_start (args, format);
	uint8_t stringsize = vsnprintf(buffer, 256, format, args);
	HAL_UART_Transmit(&huart6,(uint8_t *)buffer,stringsize, 100);
	va_end (args);
}

/* USER CODE BEGIN 4 */

/* USER CODE END 4 */

void Error_Handler(void)
{
  __disable_irq();
  while (1)
  {
  }
}
